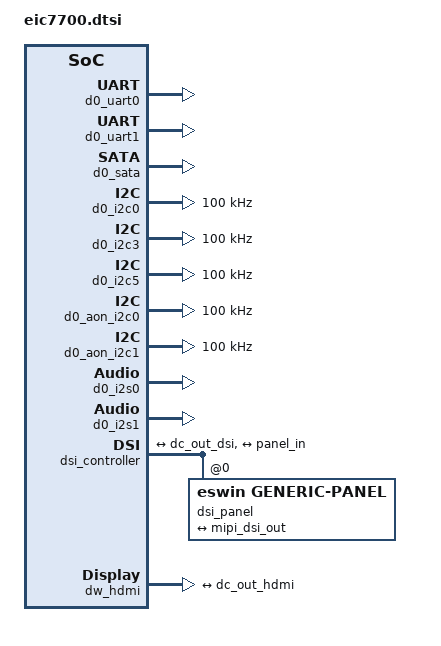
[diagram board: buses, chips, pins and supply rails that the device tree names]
// SPDX-License-Identifier: (GPL-2.0 OR MIT)
/*
 * Copyright (c) 2024 Beijing ESWIN Computing Technology Co., Ltd.
 */

#include "eic7700-arch.dtsi"
#include <dt-bindings/memory/eic7700-sid.h>
#include <dt-bindings/reset/eic7700-syscrg.h>
#include <dt-bindings/clock/eic7700-clock.h>
#include <dt-bindings/riscv/physical-memory.h>

/ {
	riscv,physical-memory-regions =
		<0x000 0x00000000 0x200 0x00000000 (PMA_RW | PMA_IO) 0x0>,
		<0x000 0x80000000 0x00f 0x80000000 (PMA_RWXA | PMA_NONCOHERENT_MEMORY) 0x0>,
		<0x0c0 0x00000000 0x010 0x00000000 (PMA_RWX | PMA_NONCACHEABLE_MEMORY | PMR_ALIAS(1)) 0x0>;

    compatible = "eswin,eic7700";
	d0_cpu_opp_table: opp-table0 {
		compatible = "operating-points-v2";
		opp-shared;

		opp-24000000 {
			opp-hz = /bits/ 64 <CLK_FREQ_24M>;
			opp-microvolt = <800000>;
			clock-latency-ns = <70000>;
		};
		opp-100000000 {
			opp-hz = /bits/ 64 <CLK_FREQ_100M>;
			opp-microvolt = <800000>;
			clock-latency-ns = <70000>;
		};
		opp-200000000 {
			opp-hz = /bits/ 64 <CLK_FREQ_200M>;
			opp-microvolt = <800000>;
			clock-latency-ns = <70000>;
		};
		opp-400000000 {
			opp-hz = /bits/ 64 <CLK_FREQ_400M>;
			opp-microvolt = <800000>;
			clock-latency-ns = <70000>;
		};
		opp-500000000 {
			opp-hz = /bits/ 64 <CLK_FREQ_500M>;
			opp-microvolt = <800000>;
			clock-latency-ns = <70000>;
		};
		opp-600000000 {
			opp-hz = /bits/ 64 <CLK_FREQ_600M>;
			opp-microvolt = <800000>;
			clock-latency-ns = <70000>;
		};
		opp-700000000 {
			opp-hz = /bits/ 64 <CLK_FREQ_700M>;
			opp-microvolt = <800000>;
			clock-latency-ns = <70000>;
		};
		opp-800000000 {
			opp-hz = /bits/ 64 <CLK_FREQ_800M>;
			opp-microvolt = <800000>;
			clock-latency-ns = <70000>;
		};
		opp-900000000 {
			opp-hz = /bits/ 64 <CLK_FREQ_900M>;
			opp-microvolt = <800000>;
			clock-latency-ns = <70000>;
		};
		opp-1000000000 {
			opp-hz = /bits/ 64 <CLK_FREQ_1000M>;
			opp-microvolt = <800000>;
			clock-latency-ns = <70000>;
		};
		opp-1200000000 {
			opp-hz = /bits/ 64 <CLK_FREQ_1200M>;
			opp-microvolt = <800000>;
			clock-latency-ns = <70000>;
		};
		opp-1300000000 {
			opp-hz = /bits/ 64 <CLK_FREQ_1300M>;
			opp-microvolt = <800000>;
			clock-latency-ns = <70000>;
		};
		opp-1400000000 {
			opp-hz = /bits/ 64 <CLK_FREQ_1400M>;
			opp-microvolt = <800000>;
			clock-latency-ns = <70000>;
		};
	};
};

&SOC {
	dma-noncoherent;

	d0_uart0: serial@0x50900000 {
		compatible = "snps,dw-apb-uart";
		clock-frequency = <LSPCLK_FREQ>;
		interrupt-parent = <&plic0>;
		interrupts = <100>;
		reg = <0x0 0x50900000 0x0 0x10000>;
		reg-shift = <2>;
		reg-io-width = <4>;
	};

	d0_uart1: serial@0x50910000 {
		compatible = "snps,dw-apb-uart";
		clock-frequency = <LSPCLK_FREQ>;
		interrupt-parent = <&plic0>;
		interrupts = <101>;
		reg = <0x0 0x50910000 0x0 0x10000>;
		reg-shift = <2>;
		reg-io-width = <4>;
	};

	d0_uart2: serial@0x50920000 {
		compatible = "snps,dw-apb-uart";
		clock-frequency = <LSPCLK_FREQ>;
		interrupt-parent = <&plic0>;
		interrupts = <102>;
		reg = <0x0 0x50920000 0x0 0x10000>;
		reg-shift = <2>;
		reg-io-width = <4>;
		status = "disabled";
	};

	d0_uart3: serial@0x50930000 {
		compatible = "snps,dw-apb-uart";
		clock-frequency = <LSPCLK_FREQ>;
		interrupt-parent = <&plic0>;
		interrupts = <103>;
		reg = <0x0 0x50930000 0x0 0x10000>;
		reg-shift = <2>;
		reg-io-width = <4>;
		status = "disabled";
	};

	d0_uart4: serial@0x50940000 {
		compatible = "snps,dw-apb-uart";
		clock-frequency = <LSPCLK_FREQ>;
		interrupt-parent = <&plic0>;
		interrupts = <104>;
		reg = <0x0 0x50940000 0x0 0x10000>;
		reg-shift = <2>;
		reg-io-width = <4>;
		status = "disabled";
	};

	d0_sys_con: scu_sys_con@0x51810000 {
		compatible = "eswin,eic7700-scu-sys-con", "syscon", "simple-mfd";
		#syscon-cells = <2>;
		#size-cells = <2>;
		reg = <0x0 0x51810000 0x0 0x8000>;
	};

	d0_sys_crg: sys-crg@51828000 {
		compatible = "syscon", "simple-mfd";
		reg = <0x000000 0x51828000 0x000000 0x80000>;
		d0_reset: reset-controller {
			compatible = "eswin,eic7700-reset";
			#reset-cells = <2>;
		};
		d0_clock: clock-controller {
			compatible = "eswin,eic7700-clock";
			#clock-cells = <1>;
		};
	};

	d0_hsp_sp_csr: hsp_sp_top_csr@0x50440000 {
		compatible = "syscon";
		#size-cells = <2>;
		reg = <0x0 0x50440000 0x0 0x2000>;
	};

	smmu0: iommu@50c00000 {
		compatible = "arm,smmu-v3";
		eswin,syscfg = <&d0_sys_con 0x3fc>;
		interrupt-parent = <&plic0>;
		interrupts = <356>,
			<360>,
			<357>,
			<358>;
		interrupt-names = "eventq", "gerror", "priq", "cmdq-sync";
		#iommu-cells = <1>;
		reg = <0x0 0x50c00000 0x0 0x100000>;
		resets = <&d0_reset TCU_RST_CTRL SW_TCU_AXI_RSTN>,
			<&d0_reset TCU_RST_CTRL SW_TCU_CFG_RSTN>,
			<&d0_reset TCU_RST_CTRL TBU_RSTN_0>,
			<&d0_reset TCU_RST_CTRL TBU_RSTN_1>,
			<&d0_reset TCU_RST_CTRL TBU_RSTN_2>,
			<&d0_reset TCU_RST_CTRL TBU_RSTN_3>,
			<&d0_reset TCU_RST_CTRL TBU_RSTN_4>,
			<&d0_reset TCU_RST_CTRL TBU_RSTN_5>,
			<&d0_reset TCU_RST_CTRL TBU_RSTN_6>,
			<&d0_reset TCU_RST_CTRL TBU_RSTN_7>;
		reset-names = "axi_rst", "cfg_rst", "tbu0_rst", "tbu1_rst",
			"tbu2_rst", "tbu3_rst", "tbu4_rst", "tbu5_rst",
			"tbu6_rst", "tbu7_rst";
		status = "disabled";
	};

	d0_dmac0: dma-controller-hsp@0x50430000 {
		compatible = "snps,axi-dma-1.01a";
		reg = <0x0 0x50430000 0x0 0x10000>;
		interrupt-parent = <&plic0>;
		interrupts = <57>;
		clocks = <&d0_clock EIC7700_CLK_HSP_DMA0_CLK>;
		clock-names = "core-clk";
		#dma-cells = <2>;
		dma-channels = <12>;
		snps,dma-masters = <1>;
		snps,priority = <0 1 2 3 4 5 6 7 8 9 10 11>;
		snps,data-width = <2>;
		snps,block-size = <0x80000 0x80000 0x80000 0x80000
			0x80000 0x80000 0x80000 0x80000
			0x80000 0x80000 0x80000 0x80000>;
		snps,axi-max-burst-len = <16>;
		snps,max-msize = <64>;
		resets = <&d0_reset HSPDMA_RST_CTRL SW_HSP_DMA0_RSTN>,
			<&d0_reset HSPDMA_RST_CTRL SW_HSP_DMA_PRSTN>;
		reset-names = "arst", "prst";
		iommus = <&smmu0 EIC7700_SID_DMA0>;
		tbus = <EIC7700_TBUID_DMA0>;
		eswin,hsp_sp_csr = <&d0_hsp_sp_csr 0x104c>;
		eswin,syscfg = <&d0_sys_con DMA1_SID_REG_OFFSET 0x370>;
	};

	d0_aon_dmac: dma-controller-aon@0x518c0000 {
		compatible = "snps,axi-dma-1.01a";
		#size-cells = <2>;
		#address-cells = <2>;
		reg = <0x0 0x518c0000 0x0 0x10000>;
		interrupt-parent = <&plic0>;
		interrupts = <289>;
		clocks = <&d0_clock EIC7700_CLK_AONDMA_ACLK>;
		clock-names = "core-clk";
		#dma-cells = <2>;
		dma-channels = <16>;
		dma-ranges = <0x0 0x80000000 0x0 0x80000000 0x100 0x0>;
		snps,dma-masters = <2>;
		snps,priority = <0 1 2 3 4 5 6 7 8 9 10 11 12 13 14 15>;
		snps,data-width = <3>;
		snps,block-size = <0x80000 0x80000 0x80000 0x80000
			0x80000 0x80000 0x80000 0x80000
			0x80000 0x80000 0x80000 0x80000
			0x80000 0x80000 0x80000 0x80000>;
		snps,axi-max-burst-len = <32>;
		snps,max-msize = <64>;
		resets = <&d0_reset DMA1_RST_CTRL SW_DMA1_ARSTN>,
			<&d0_reset DMA1_RST_CTRL SW_DMA1_HRSTN>;
		reset-names = "arst", "prst";
		iommus = <&smmu0 EIC7700_SID_DMA1>;
		tbus = <EIC7700_TBUID_DMA1>;
		eswin,syscfg = <&d0_sys_con DMA1_SID_REG_OFFSET 0x370>;
	};

	d0_gmac0: ethernet@50400000 {
		compatible = "eswin,eic7700-qos-eth";
		clocks = <&d0_clock EIC7700_CLK_HSP_ETH_APP_CLK>,
			<&d0_clock EIC7700_CLK_HSP_ETH_CSR_CLK>,
			<&d0_clock EIC7700_CLK_HSP_ETH0_CORE_CLK>;
		clock-names = "app", "stmmaceth","tx";
		eswin,hsp_sp_csr = <&d0_hsp_sp_csr 0x1030 0x100 0x108>;
		eswin,syscrg_csr = <&d0_sys_crg 0x148 0x14c>;
		id = <0>;
		interrupts = <61>;
		interrupt-names = "macirq";
		interrupt-parent = <&plic0>;
		phy-mode = "rgmii";
		reg = <0x0 0x50400000 0x0 0x10000>;
		resets = <&d0_reset HSPDMA_RST_CTRL SW_HSP_ETH0_ARSTN>;
		reset-names = "ethrst";
		snps,axi-config = <&d0_stmmac_axi_setup>;
		tbus = <EIC7700_TBUID_ETH>;
		status = "disabled";
		d0_stmmac_axi_setup: stmmac-axi-config {
			snps,blen = <0 0 0 0 16 8 4>;
			snps,rd_osr_lmt = <2>;
			snps,wr_osr_lmt = <2>;
			snps,lpi_en = <0>;
		};
	};

	d0_gmac1: ethernet@50410000 {
		compatible = "eswin,eic7700-qos-eth";
		clocks = <&d0_clock EIC7700_CLK_HSP_ETH_APP_CLK>,
			<&d0_clock EIC7700_CLK_HSP_ETH_CSR_CLK>,
			<&d0_clock EIC7700_CLK_HSP_ETH1_CORE_CLK>;
		clock-names = "app", "stmmaceth","tx";
		eswin,hsp_sp_csr = <&d0_hsp_sp_csr 0x1034 0x200 0x208>;
		eswin,syscrg_csr = <&d0_sys_crg 0x148 0x14c>;
		id = <1>;
		interrupts = <70>;
		interrupt-names = "macirq";
		interrupt-parent = <&plic0>;
		phy-mode = "rgmii";
		reg = <0x0 0x50410000 0x0 0x10000>;
		resets = <&d0_reset HSPDMA_RST_CTRL SW_HSP_ETH1_ARSTN>;
		reset-names = "ethrst";
		tbus = <EIC7700_TBUID_ETH>;
		snps,axi-config = <&d0_stmmac_axi_setup_gmac1>;
		status = "disabled";
		d0_stmmac_axi_setup_gmac1: stmmac-axi-config {
			snps,blen = <0 0 0 0 16 8 4>;
			snps,rd_osr_lmt = <2>;
			snps,wr_osr_lmt = <2>;
			snps,lpi_en = <0>;
		};
	};

	gpu0: gpu@51400000 {
		compatible = "img,gpu";
		#address-cells = <2>;
		#size-cells = <2>;
		reg = <0x0 0x51400000 0x0 0xFFFFF>;
		clocks = <&d0_clock EIC7700_CLK_GPU_ACLK>,
			<&d0_clock EIC7700_CLK_GPU_GRAY_CLK>,
			<&d0_clock EIC7700_CLK_GPU_CFG_CLK>;
		clock-names = "aclk", "gray_clk", "cfg_clk";
		resets =<&d0_reset GPU_RST_CTRL SW_GPU_AXI_RSTN>,
			<&d0_reset GPU_RST_CTRL SW_GPU_CFG_RSTN>,
			<&d0_reset GPU_RST_CTRL SW_GPU_GRAY_RSTN>,
			<&d0_reset GPU_RST_CTRL SW_GPU_JONES_RSTN>,
			<&d0_reset GPU_RST_CTRL SW_GPU_SPU_RSTN>;
		reset-names = "axi", "cfg", "gray", "jones","spu";
		interrupt-parent = <&plic0>;
		interrupts = <15>;
	};

	d0_sata: sata@0x50420000{
		compatible = "snps,eswin-ahci";
		eswin,hsp_sp_csr = <&d0_hsp_sp_csr 0x1050>;
		interrupt-parent = <&plic0>;
		interrupt-names = "intrq", "msi", "pme";
		interrupts = <58>, <59>, <60>;
		iommus = <&smmu0 EIC7700_SID_SATA>;
		ports-implemented = <0x1>;
		reg = <0x0 0x50420000 0x0 0x10000>;
		resets = <&d0_reset HSPDMA_RST_CTRL SW_SATA_ASIC0_RSTN>,
			<&d0_reset HSPDMA_RST_CTRL SW_SATA_OOB_RSTN>,
			<&d0_reset HSPDMA_RST_CTRL SW_SATA_PMALIVE_RSTN>,
			<&d0_reset HSPDMA_RST_CTRL SW_SATA_RBC_RSTN>,
			<&d0_reset HSPDMA_RST_CTRL SW_HSP_SATA_ARSTN>;
		reset-names = "asic0", "oob", "pmalive", "rbc", "apb";
		#size-cells = <2>;
		tbus = <EIC7700_TBUID_SATA>;
		dma-ranges = <0x0 0x0 0x0 0xc0000000 0x200 0x0>;
	};

	pcie: pcie@0x54000000 {
		compatible = "eswin,eic7700-pcie";
		#address-cells = <3>;
		#size-cells = <2>;
		clocks = <&d0_clock EIC7700_CLK_PCIET_ACLK>,
			<&d0_clock EIC7700_CLK_PCIET_CFG_CLK>,
			<&d0_clock EIC7700_CLK_PCIET_CR_CLK>,
			<&d0_clock EIC7700_CLK_PCIET_AUX_CLK>;
		clock-names = "pcie_aclk", "pcie_cfg_clk",
			"pcie_cr_clk", "pcie_aux_clk";
		device_type = "pci";
		#interrupt-cells = <1>;
		interrupts = <220>, <179>, <180>, <181>,
			<182>, <183>, <184>, <185>, <186>;
		interrupt-names = "msi", "inta", "intb", "intc", "intd";
		interrupt-parent = <&plic0>;
		interrupt-map-mask = <0x0 0x0 0x0 0x7>;
		interrupt-map = <0x0 0x0 0x0 0x1 &plic0 179>,
			<0x0 0x0 0x0 0x2 &plic0 180>,
			<0x0 0x0 0x0 0x3 &plic0 181>,
			<0x0 0x0 0x0 0x4 &plic0 182>;
		iommus = <&smmu0 0xfe0000>;
		iommu-map = <0x0 &smmu0 0xff0000 0xffffff>;
		num-lanes = <0x4>;
		resets = <&d0_reset PCIE_RST_CTRL SW_PCIE_CFG_RSTN>,
			 <&d0_reset PCIE_RST_CTRL SW_PCIE_POWERUP_RSTN>,
			 <&d0_reset PCIE_RST_CTRL SW_PCIE_PERST_N>;
		reset-names = "pcie_cfg", "pcie_powerup", "pcie_pwren";
		reg = <0x0 0x54000000 0x0 0x4000000>,
			<0x0 0x40000000 0x0 0x800000>,
		    <0x0 0x50000000 0x0 0x100000>;
		reg-names = "dbi", "config", "mgmt";
		bus-range = <0x0 0xff>;
		ranges = <0x81000000  0x0 0x40800000  0x0 0x40800000 0x0 0x800000>,
			<0x82000000  0x0 0x41000000  0x0 0x41000000 0x0 0xf000000>,
			<0xc3000000 0x80 0x00000000 0x80 0x00000000 0x02 0x00000000>;
		gen-x = <3>;
		lane-x = <4>;
		tbus = <EIC7700_TBUID_PCIE>;
		status = "disabled";
	};

	ssi0: spi@50810000 {
		compatible = "snps,eic7700-spi";
		#address-cells = <1>;
		#size-cells = <0>;
		reg = <0x0 0x50810000 0x0 0x4000>;
		spi-max-frequency = <4800000>;
		clocks = <&d0_clock EIC7700_CLK_LSP_SSI0_PCLK>;
		clock-names = "clk";
		interrupt-parent = <&plic0>;
		interrupts = <91>;
		resets = <&d0_reset SSI_RST_CTRL SW_SSI_RST_N_0>;
		reset-names = "spi";
		eswin,spi_dma = <&d0_aon_dmac>;
		dmas = <&d0_aon_dmac 38 3>, <&d0_aon_dmac 39 3>;
		dma-names = "rx", "tx";
		status = "disabled";
	};

	ssi1: spi@50814000 {
		compatible = "snps,eic7700-spi";
		#address-cells = <1>;
		#size-cells = <0>;
		reg = <0x0 0x50814000 0x0 0x4000>;
		spi-max-frequency = <4800000>;
		clocks = <&d0_clock EIC7700_CLK_LSP_SSI1_PCLK>;
		clock-names = "clk";
		interrupt-parent = <&plic0>;
		interrupts = <92>;
		resets = <&d0_reset SSI_RST_CTRL SW_SSI_RST_N_1>;
		reset-names = "spi";
		eswin,spi_dma = <&d0_aon_dmac>;
		dmas = <&d0_aon_dmac 36 4>, <&d0_aon_dmac 37 4>;
		dma-names = "rx", "tx";
		status = "disabled";
	};

	bootspi: spi@51800000 {
		compatible = "eswin,bootspi";
		#address-cells = <1>;
		#size-cells = <0>;
		clocks = <&d0_clock EIC7700_CLK_CLK_BOOTSPI_CFG>,
				<&d0_clock EIC7700_CLK_CLK_BOOTSPI>;
		clock-names = "cfg_clk", "clk";
		reg = <0x0 0x51800000 0x0 0x8000>,
			<0x0 0x51828000 0x0 0x8000>,
			<0x0 0x5c000000 0x0 0x8000>;
		resets = <&d0_reset BOOTSPI_RST_CTRL SW_BOOTSPI_RSTN>;
		reset-names = "rst";
		reg-io-width = <4>;
		spi-max-frequency = <4800000>;
		status = "disabled";
	};

	sdhci_emmc: mmc@50450000 {
		compatible = "eswin,emmc-sdhci-5.1";
		#clock-cells = <0>;
		clocks = <&d0_clock EIC7700_CLK_HSP_MSHC0_CORE_CLK>, <&d0_clock EIC7700_CLK_HSP_CFG_CLK>;
		clock-names = "clk_xin", "clk_ahb";
		clock-output-names = "emmc_cardclock";
		assigned-clocks = <&d0_clock EIC7700_CLK_HSP_MSHC0_CORE_CLK>;
		assigned-clock-rates = <200000000>;
		reg = <0x0 0x50450000 0x0 0x10000>;
		interrupt-parent = <&plic0>;
		interrupts = <79>;
		resets = <&d0_reset HSPDMA_RST_CTRL SW_MSHC0_TXRX_RSTN>,
			<&d0_reset HSPDMA_RST_CTRL SW_MSHC0_PHY_RSTN>,
			<&d0_reset HSPDMA_RST_CTRL SW_HSP_EMMC_PRSTN>,
			<&d0_reset HSPDMA_RST_CTRL SW_HSP_EMMC_ARSTN>;
		reset-names = "txrx_rst", "phy_rst", "prstn", "arstn";
		disable-cqe-dcmd;
		bus-width = <8>;
		non-removable;
		mmc-hs400-1_8v;
		max-frequency = <200000000>;
		#size-cells = <2>;
		iommus = <&smmu0 EIC7700_SID_EMMC0>;
		tbus = <EIC7700_TBUID_EMMC>;
		dma-ranges = <0x0 0x00000000 0x0 0xc0000000 0x1 0x0>;
		eswin,hsp_sp_csr = <&d0_hsp_sp_csr 0x1038>;
		status = "disabled";
	};

	sdio0: mmc@0x50460000{
		compatible = "eswin,sdhci-sdio";
		reg = <0x0 0x50460000 0x0 0x10000>;
		interrupt-parent = <&plic0>;
		interrupts = <81>;
		clocks =<&d0_clock EIC7700_CLK_HSP_MSHC1_CORE_CLK>,
			<&d0_clock EIC7700_CLK_HSP_CFG_CLK>,
			<&d0_clock EIC7700_SPLL2_FOUT3>,
			<&d0_clock EIC7700_MUX_U_MSHCORE_ROOT_3MUX1_1>;
		clock-names ="clk_xin","clk_ahb","clk_spll2_fout3","clk_mux1_1";
		clock-output-names = "sdio0_cardclock";
		#clock-cells = <0>;
		resets = <&d0_reset HSPDMA_RST_CTRL SW_MSHC1_TXRX_RSTN>,
			<&d0_reset HSPDMA_RST_CTRL SW_MSHC1_PHY_RSTN>,
			<&d0_reset HSPDMA_RST_CTRL SW_HSP_SD0_PRSTN>,
			<&d0_reset HSPDMA_RST_CTRL SW_HSP_SD0_ARSTN>;
		reset-names = "txrx_rst","phy_rst","prstn","arstn";
		core-clk-reg = <0x51828164>;
		clock-frequency = <208000000>;
		max-frequency = <208000000>;
		#size-cells = <2>;
		dma-ranges = <0x0 0x20000000 0x0 0xc0000000 0x0 0x40000000>;
		iommus = <&smmu0 EIC7700_SID_SD0>;
		tbus = <EIC7700_TBUID_SD>;
		eswin,hsp_sp_csr = <&d0_hsp_sp_csr 0x103c>;
		bus-width = <4>;
		sdio-id = <0>;
		status = "disabled";
	};

	sdio1: mmc@0x50470000{
		compatible = "eswin,sdhci-sdio";
		reg = <0x0 0x50470000 0x0 0x10000>;
		interrupt-parent = <&plic0>;
		interrupts = <83>;
		clocks =<&d0_clock EIC7700_CLK_HSP_MSHC2_CORE_CLK>,
			<&d0_clock EIC7700_CLK_HSP_CFG_CLK>,
			<&d0_clock EIC7700_SPLL2_FOUT3>,
			<&d0_clock EIC7700_MUX_U_MSHCORE_ROOT_3MUX1_1>;
		clock-names ="clk_xin","clk_ahb","clk_spll2_fout3","clk_mux1_1";
		clock-output-names = "sdio1_cardclock";
		#clock-cells = <0>;
		resets = <&d0_reset HSPDMA_RST_CTRL SW_MSHC2_TXRX_RSTN>,
			<&d0_reset HSPDMA_RST_CTRL SW_MSHC2_PHY_RSTN>,
			<&d0_reset HSPDMA_RST_CTRL SW_HSP_SD1_PRSTN>,
			<&d0_reset HSPDMA_RST_CTRL SW_HSP_SD1_ARSTN>;
		reset-names = "txrx_rst","phy_rst","prstn","arstn";
		core-clk-reg = <0x51828168>;
		clock-frequency = <208000000>;
		max-frequency = <208000000>;
		#size-cells = <2>;
		dma-ranges = <0x0 0x20000000 0x0 0xc0000000 0x0 0x40000000>;
		iommus = <&smmu0 EIC7700_SID_SD1>;
		tbus = <EIC7700_TBUID_SD>;
		eswin,hsp_sp_csr = <&d0_hsp_sp_csr 0x1040>;
		bus-width = <4>;
		sdio-id = <1>;
		status = "disabled";
	};

	pvt0: pvt@0x50b00000 {
		compatible = "eswin,eswin-pvt";
		#address-cells = <1>;
		#size-cells = <0>;
		clocks = <&d0_clock EIC7700_CLK_PVT_CLK_0>;
		clock-names = "pvt_clk";
		interrupts = <349>;
		interrupt-parent = <&plic0>;
		resets = <&d0_reset PVT_RST_CTRL SW_PVT_RST_N_0>;
		reset-names = "pvt_rst";
		reg = <0x0 0x50b00000 0x0 0x10000>;
		status = "disabled";
	};

	pvt1: pvt@0x52360000 {
		compatible = "eswin,eswin-pvt";
		#address-cells = <1>;
		#size-cells = <0>;
		clocks = <&d0_clock EIC7700_CLK_PVT_CLK_1>;
		clock-names = "pvt_clk";
		interrupts = <350>;
		interrupt-parent = <&plic0>;
		resets = <&d0_reset PVT_RST_CTRL SW_PVT_RST_N_1>;
		reset-names = "pvt_rst";
		reg = <0x0 0x52360000 0x0 0x20000>;
		status = "disabled";
	};

	fan_control: fan_control@50b50000 {
		compatible = "eswin-fan-control";
		reg = <0x0 0x50b50000 0x0 0x10000>;
		clocks = <&d0_clock EIC7700_CLK_LSP_FAN_PCLK>;
		clock-names = "pclk";
		interrupt-parent = <&plic0>;
		interrupt-names = "fanirq";
		interrupts = <354>;
		pulses-per-revolution = <2>;
		pwm-minimum-period = <1000>;
		pwms = <&pwm0 0 100000>;
		pinctrl-names = "default";
		pinctrl-0 = <&pinctrl_fan_tach_default>;
		resets = <&d0_reset FAN_RST_CTRL SW_FAN_RST_N>;
		reset-names = "fan_rst";
		status = "disabled";
	};

	d0_i2c0: i2c@50950000 {
		compatible = "snps,designware-i2c";
		reg = <0x0 0x50950000 0x0 0x8000>;
		clocks = <&d0_clock EIC7700_CLK_LSP_I2C0_PCLK>;
		clock-names = "pclk";
		clock-frequency = <100000>;
		resets = <&d0_reset I2C_RST_CTRL SW_I2C_RST_N_0>;
		reset-names = "rst";
		interrupts = <105>;
		interrupt-parent = <&plic0>;
		#address-cells = <1>;
		#size-cells = <0>;
	};

	d0_i2c1: i2c@50960000 {
		compatible = "snps,designware-i2c";
		reg = <0x0 0x50960000 0x0 0x10000>;
		clock-frequency = <100000>;
		clocks = <&d0_clock EIC7700_CLK_LSP_I2C1_PCLK>;
		clock-names = "pclk";
		resets = <&d0_reset I2C_RST_CTRL SW_I2C_RST_N_1>;
		reset-names = "rst";
		interrupts = <106>;
		interrupt-parent = <&plic0>;
		#address-cells = <1>;
		#size-cells = <0>;
		status = "disabled";
	};

	d0_i2c2: i2c@50970000 {
		compatible = "snps,designware-i2c";
		reg = <0x0 0x50970000 0x0 0x8000>;
		clock-frequency = <100000>;
		clocks = <&d0_clock EIC7700_CLK_LSP_I2C2_PCLK>;
		clock-names = "pclk";
		resets = <&d0_reset I2C_RST_CTRL SW_I2C_RST_N_2>;
		reset-names = "rst";
		interrupts = <107>;
		interrupt-parent = <&plic0>;
		#address-cells = <1>;
		#size-cells = <0>;
		status = "disabled";
	};

	d0_i2c3: i2c@50980000 {
		compatible = "snps,designware-i2c";
		reg = <0x0 0x50980000 0x0 0x8000>;
		clock-frequency = <100000>;
		clocks = <&d0_clock EIC7700_CLK_LSP_I2C3_PCLK>;
		clock-names = "pclk";
		resets = <&d0_reset I2C_RST_CTRL SW_I2C_RST_N_3>;
		reset-names = "rst";
		interrupts = <108>;
		interrupt-parent = <&plic0>;
		#address-cells = <1>;
		#size-cells = <0>;
	};

	d0_i2c4: i2c@50990000 {
		compatible = "snps,designware-i2c";
		reg = <0x0 0x50990000 0x0 0x8000>;
		clock-frequency = <100000>;
		clocks = <&d0_clock EIC7700_CLK_LSP_I2C4_PCLK>;
		clock-names = "pclk";
		resets = <&d0_reset I2C_RST_CTRL SW_I2C_RST_N_4>;
		reset-names = "rst";
		interrupts = <109>;
		interrupt-parent = <&plic0>;
		#address-cells = <1>;
		#size-cells = <0>;
		status = "disabled";
	};

	d0_i2c5: i2c@509a0000 {
		compatible = "snps,designware-i2c";
		reg = <0x0 0x509a0000 0x0 0x8000>;
		clock-frequency = <100000>;
		clocks = <&d0_clock EIC7700_CLK_LSP_I2C5_PCLK>;
		clock-names = "pclk";
		resets = <&d0_reset I2C_RST_CTRL SW_I2C_RST_N_5>;
		reset-names = "rst";
		interrupts = <110>;
		interrupt-parent = <&plic0>;
		#address-cells = <1>;
		#size-cells = <0>;
	};

	d0_i2c6: i2c@509b0000 {
		compatible = "snps,designware-i2c";
		reg = <0x0 0x509b0000 0x0 0x8000>;
		clock-frequency = <100000>;
		clocks = <&d0_clock EIC7700_CLK_LSP_I2C6_PCLK>;
		clock-names = "pclk";
		resets = <&d0_reset I2C_RST_CTRL SW_I2C_RST_N_6>;
		reset-names = "rst";
		interrupts = <111>;
		interrupt-parent = <&plic0>;
		#address-cells = <1>;
		#size-cells = <0>;
		status = "disabled";
	};

	d0_i2c7: i2c@509c0000 {
		compatible = "snps,designware-i2c";
		reg = <0x0 0x509c0000 0x0 0x8000>;
		clock-frequency = <100000>;
		clocks = <&d0_clock EIC7700_CLK_LSP_I2C7_PCLK>;
		clock-names = "pclk";
		resets = <&d0_reset I2C_RST_CTRL SW_I2C_RST_N_7>;
		reset-names = "rst";
		interrupts = <112>;
		interrupt-parent = <&plic0>;
		#address-cells = <1>;
		#size-cells = <0>;
		status = "disabled";
	};

	d0_i2c8: i2c@509d0000 {
		compatible = "snps,designware-i2c";
		reg = <0x0 0x509d0000 0x0 0x8000>;
		clock-frequency = <100000>;
		clocks = <&d0_clock EIC7700_CLK_LSP_I2C8_PCLK>;
		clock-names = "pclk";
		resets = <&d0_reset I2C_RST_CTRL SW_I2C_RST_N_8>;
		reset-names = "rst";
		interrupts = <113>;
		interrupt-parent = <&plic0>;
		#address-cells = <1>;
		#size-cells = <0>;
		status = "disabled";
	};

	d0_i2c9: i2c@509e0000 {
		compatible = "snps,designware-i2c";
		reg = <0x0 0x509e0000 0x0 0x8000>;
		clock-frequency = <100000>;
		clocks = <&d0_clock EIC7700_CLK_LSP_I2C9_PCLK>;
		clock-names = "pclk";
		resets = <&d0_reset I2C_RST_CTRL SW_I2C_RST_N_9>;
		reset-names = "rst";
		interrupts = <114>;
		interrupt-parent = <&plic0>;
		#address-cells = <1>;
		#size-cells = <0>;
		status = "disabled";
	};

	d0_aon_i2c0: i2c@51830000 {
		compatible = "snps,designware-i2c";
		reg = <0x0 0x51830000 0x0 0x8000>;
		clock-frequency = <100000>;
		clocks = <&d0_clock EIC7700_CLK_AON_I2C0_PCLK>;
		clock-names = "pclk";
		resets = <&d0_reset I2C0_RST_CTRL SW_I2C0_PRSTN>;
		reset-names = "rst";
		interrupts = <290>;
		interrupt-parent = <&plic0>;
		eswin,i2c_dma = <&d0_aon_dmac>;
		dma-names = "rx", "tx";
		/*
		* dmas : DMA specifiers
		* &d0_aon_dmac : dma controller
		* 41 : i2c0 aon dma handshake number
		* 0xff : no need to select to dma controller
		*/
		dmas = <&d0_aon_dmac 41 0xff>, <&d0_aon_dmac 42 0xff>;
		#address-cells = <1>;
		#size-cells = <0>;
	};

	d0_aon_i2c1: i2c@51838000 {
			compatible = "snps,designware-i2c";
			reg = <0x0 0x51838000 0x0 0x8000>;
			clock-frequency = <100000>;
			clocks = <&d0_clock EIC7700_CLK_AON_I2C1_PCLK>;
			clock-names = "pclk";
			resets = <&d0_reset I2C1_RST_CTRL SW_I2C1_PRSTN>;
			reset-names = "rst";
			interrupts = <291>;
			interrupt-parent = <&plic0>;
			#address-cells = <1>;
			#size-cells = <0>;
	};

	pinctrl: pinctrl@0x51600080 {
		compatible = "eswin,eic7700-pinctrl";
		reg = <0x0 0x51600080 0x0 0x1FFF80>;
		status = "disabled";
	};

	gpio0: gpio@51600000 {
		#address-cells = <1>;
		#size-cells = <0>;
		compatible = "snps,dw-apb-gpio";
		reg = <0x0 0x51600000 0x0 0x80>;

		porta: gpio-port@0 {
			compatible = "snps,dw-apb-gpio-port";
			gpio-controller;
			#gpio-cells = <2>;
			ngpios = <32>;
			reg = <0>;
			interrupt-parent = <&plic0>;
			interrupts = <303 304 305 306 307 308 309 310 311 312 313
				314 315 316 317 318 319 320 321 322 323 324 325 326
				327 328 329 330 331 332 333 334>;
		};

		portb: gpio-port@1 {
			compatible = "snps,dw-apb-gpio-port";
			gpio-controller;
			#gpio-cells = <2>;
			ngpios = <32>;
			reg = <1>;
		};

		portc: gpio-port@2 {
			compatible = "snps,dw-apb-gpio-port";
			gpio-controller;
			#gpio-cells = <2>;
			ngpios = <32>;
			reg = <2>;
		};

		portd: gpio-port@3 {
			compatible = "snps,dw-apb-gpio-port";
			gpio-controller;
			#gpio-cells = <2>;
			ngpios = <16>;
			reg = <3>;
		};
	};

	pwm0: pwm@0x50818000 {
		compatible = "eswin,pwm-eswin";
		#pwm-cells = <2>;
		clock-names = "pwm","pclk";
		clocks = <&d0_clock EIC7700_CLK_LSP_TIMER_PCLK>;
		clock-frequency = <200000000>;
		pinctrl-names = "default";
		pinctrl-0 = <&pinctrl_pwm0_default>;
		reg = <0x0 0x50818000 0x0 0x4000>;
		resets = <&d0_reset TIMER_RST_CTRL SW_TIMER_RST_N>;
		reset-names = "pwmrst";
		status = "disabled";
	};

	wdt0: watchdog@0x50800000 {
		compatible = "snps,dw-wdt";
		reg = <0x0 0x50800000 0x0 0x4000>;
		clocks =<&d0_clock EIC7700_CLK_LSP_WDT0_PCLK>;
		clock-names = "pclk";
		resets = <&d0_reset WDT_RST_CTRL SW_WDT_RST_N_0>;
		reset-names = "rst";
		interrupts = <87>;
		interrupt-parent = <&plic0>;
		status = "disabled";
	};

	wdt1: watchdog@0x50804000 {
		compatible = "snps,dw-wdt";
		reg = <0x0 0x50804000 0x0 0x4000>;
		clocks =<&d0_clock EIC7700_CLK_LSP_WDT1_PCLK>;
		clock-names = "pclk";
		resets = <&d0_reset WDT_RST_CTRL SW_WDT_RST_N_1>;
		reset-names = "rst";
		interrupts = <88>;
		interrupt-parent = <&plic0>;
		status = "disabled";
	};

	wdt2: watchdog@0x50808000 {
		compatible = "snps,dw-wdt";
		reg = <0x0 0x50808000 0x0 0x4000>;
		clocks =<&d0_clock EIC7700_CLK_LSP_WDT2_PCLK>;
		clock-names = "pclk";
		resets = <&d0_reset WDT_RST_CTRL SW_WDT_RST_N_2>;
		reset-names = "rst";
		interrupts = <89>;
		interrupt-parent = <&plic0>;
		status = "disabled";
	};

	wdt3: watchdog@0x5080c000 {
		compatible = "snps,dw-wdt";
		reg = <0x0 0x5080c000 0x0 0x4000>;
		clocks =<&d0_clock EIC7700_CLK_LSP_WDT3_PCLK>;
		clock-names = "pclk";
		resets = <&d0_reset WDT_RST_CTRL SW_WDT_RST_N_3>;
		reset-names = "rst";
		interrupts = <90>;
		interrupt-parent = <&plic0>;
		status = "disabled";
	};

	die0_rtc: rtc@51818000 {
		compatible = "eswin,eic7700-rtc";
		reg = <0x0 0x51818000 0x0 0x400>;
		eswin,syscfg = <&d0_sys_con 0x3c0>;
		interrupt-parent = <&plic0>;
		interrupts = <292>;
		clocks = <&d0_clock EIC7700_CLK_CLK_RTC>;
		clock-names = "rtcclk";
		clock-frequency = <15625>;
		resets = <&d0_reset RTC_RST_CTRL SW_RTC_RSTN>;
		reset-names = "rtcrst";
		status = "disabled";
	};

	d0_i2s0: i2s0@50200000 {
		compatible = "snps,i2s";
		clocks = <&d0_clock EIC7700_CLK_VO_I2S_MCLK>;
		clock-names = "mclk";
		#address-cells = <1>;
		#size-cells = <0>;
		#sound-dai-cells = <0x00000000>;
		reg = <0x0 0x50200000 0x0 0x10000>;
		dma-names = "rx", "tx";
		dmas = <&d0_aon_dmac 4 0>, <&d0_aon_dmac 5 0>;
		vo_mclk_sel,syscrg = <&d0_sys_crg 0x1bc>;
		resets = <&d0_reset VO_I2SRST_CTRL SW_VO_I2S_RSTN>,
			<&d0_reset VO_I2SRST_CTRL SW_VO_I2S_PRSTN>,
			<&d0_reset VO_PHYRST_CTRL SW_VO_PRSTN>;
		reset-names = "i2srst", "i2sprst", "voprst";
	};

	d0_i2s1: i2s1@50210000 {
		compatible = "snps,i2s";
		clocks = <&d0_clock EIC7700_CLK_VO_I2S_MCLK>;
		clock-names = "mclk";
		#address-cells = <1>;
		#size-cells = <0>;
		#sound-dai-cells = <0x00000000>;
		reg = <0x0 0x50210000 0x0 0x10000>;
		dma-names = "rx", "tx";
		dmas = <&d0_aon_dmac 2 1>, <&d0_aon_dmac 3 1>;
		vo_mclk_sel,syscrg = <&d0_sys_crg 0x1bc>;
		resets = <&d0_reset VO_I2SRST_CTRL SW_VO_I2S_RSTN>,
			<&d0_reset VO_I2SRST_CTRL SW_VO_I2S_PRSTN>,
			<&d0_reset VO_PHYRST_CTRL SW_VO_PRSTN>;
		reset-names = "i2srst", "i2sprst", "voprst";
	};

	d0_i2s2: i2s2@50220000 {
		compatible = "snps,i2s";
		clocks = <&d0_clock EIC7700_CLK_VO_I2S_MCLK>;
		clock-names = "mclk";
		#address-cells = <1>;
		#size-cells = <0>;
		#sound-dai-cells = <0x00000000>;
		reg = <0x0 0x50220000 0x0 0x10000>;
		dma-names = "rx", "tx";
		dmas = <&d0_aon_dmac 0 2>, <&d0_aon_dmac 1 2>;
		vo_mclk_sel,syscrg = <&d0_sys_crg 0x1bc>;
		resets = <&d0_reset VO_I2SRST_CTRL SW_VO_I2S_RSTN>,
			<&d0_reset VO_I2SRST_CTRL SW_VO_I2S_PRSTN>,
			<&d0_reset VO_PHYRST_CTRL SW_VO_PRSTN>;
		reset-names = "i2srst", "i2sprst", "voprst";
		status = "disabled";
	};

	d0_graphcard0: graphcard0 {
		compatible = "audio-graph-card";
	};

	d0_graphcard1: graphcard1 {
		compatible = "audio-graph-card";
	};

	d0_graphcard2: graphcard2 {
		compatible = "audio-graph-card";
		status = "disabled";
	};

	video_output: display-subsystem {
		compatible = "eswin,display-subsystem";
		ports = <&dc_out>;
	};

	dc: display_control@502c0000 {
		compatible = "eswin,dc";
		reg = <0x0 0x502c0000 0x0 0x100>, <0x0 0x502c0180 0x0 0x700>, <0x0 0x502c1400 0x0 0x1400>;
		interrupt-parent = <&plic0>;
		interrupts = <238>;
		clocks = <&d0_clock EIC7700_CLK_VO_CFG_CLK>,
			<&d0_clock EIC7700_CLK_VO_PIXEL_CLK>,
			<&d0_clock EIC7700_CLK_VO_ACLK>,
			<&d0_clock EIC7700_SPLL0_FOUT1>,
			<&d0_clock EIC7700_MUX_U_VO_ACLK_ROOT_2MUX1_GFREE>;
		clock-names = "cfg_clk", "pix_clk", "axi_clk", "spll0_fout1", "vo_mux";
		resets = <&d0_reset VO_RST_CTRL SW_VO_AXI_RSTN>,
			<&d0_reset VO_RST_CTRL SW_VO_CFG_RSTN>,
			<&d0_reset VO_RST_CTRL SW_VO_DC_RSTN>,
			<&d0_reset VO_RST_CTRL SW_VO_DC_PRSTN>;
		reset-names = "vo_arst", "vo_prst", "dc_arst", "dc_prst";

		dc_out: port {
			#address-cells = <1>;
			#size-cells = <0>;

			dc_out_dsi: endpoint@0 {
				reg = <0>;
				remote-endpoint = <&dsi_input>;
			};

			dc_out_dpi1: endpoint@1 {
				reg = <1>;
				remote-endpoint = <&vd_input>;
			};

			dc_out_hdmi: endpoint@2 {
				reg = <2>;
				remote-endpoint = <&hdmi_in_dc>;
			};
		};
	};

	virtual_display: es_wb {
		compatible = "eswin,virtual_display";
		bpp = /bits/ 8 <8>;
		status = "disabled";

		port {
			vd_input: endpoint {
				remote-endpoint = <&dc_out_dpi1>;
			};
		};
	};

	dsi_output: dsi-output {
		compatible = "eswin,dsi-encoder";
		status = "disabled";
	};

	dsi_controller: mipi_dsi@50270000 {
		#address-cells = <1>;
		#size-cells = <0>;
		compatible = "eswin,dsi";
		reg = <0x0 0x50270000 0x0 0x10000>;
		clocks = <&d0_clock EIC7700_CLK_CLK_MIPI_TXESC>;
		clock-names = "pclk";
		resets = <&d0_reset VO_PHYRST_CTRL SW_VO_MIPI_PRSTN>;
		reset-names ="phyrstn";

		ports {
			#address-cells = <1>;
			#size-cells = <0>;

			port@0 {
				#address-cells = <1>;
				#size-cells = <0>;
				reg = <0>;
				dsi_input: endpoint {
					remote-endpoint = <&dc_out_dsi>;
				};
			};

			port@1 {
				#address-cells = <1>;
				#size-cells = <0>;
				reg = <1>;

				mipi_dsi_out: endpoint {
					remote-endpoint = <&panel_in>;
				};
			};
		};

		dsi_panel:dsi_panel@0 {
			compatible = "eswin,generic-panel";
			reg = <0>;

			port {
				panel_in: endpoint {
					remote-endpoint = <&mipi_dsi_out>;
				};
			};
		};
	};

	dw_hdmi: hdmi@502a0000 {
		compatible = "eswin,eswin-dw-hdmi";
		reg = <0x0 0x502a0000 0x0 0x20000>;
		pinctrl-names = "default";
		interrupt-parent = <&plic0>;
		interrupts = <274>;
		clocks = <&d0_clock EIC7700_CLK_VO_CFG_CLK>,
			<&d0_clock EIC7700_CLK_VO_CEC_CLK>,
			<&d0_clock EIC7700_CLK_VO_CR_CLK>;
		clock-names = "iahb", "cec", "isfr";
		reg-io-width = <4>;
		ddc-i2c-scl-high-time-ns = <4708>;
		ddc-i2c-scl-low-time-ns = <4916>;
		#sound-dai-cells = <0>;
		resets = <&d0_reset VO_PHYRST_CTRL SW_VO_HDMI_PRSTN>,
			<&d0_reset VO_PHYRST_CTRL SW_HDMI_PHYCTRL_RSTN>,
			<&d0_reset VO_PHYRST_CTRL SW_VO_HDMI_RSTN>;
		reset-names = "prstn", "phyrstn", "rstn";

		ports {
			#address-cells = <1>;
			#size-cells = <0>;
			port@0 {
				reg = <0>;
				hdmi_in_dc: endpoint@0 {
					remote-endpoint = <&dc_out_hdmi>;
				};
			};
		};
	};

	dw_hdmi_hdcp2: hdmi-hdcp2@50290000 {
		compatible = "eswin,dw-hdmi-hdcp2";
		reg = <0x0 0x50290000 0x0 0x10000>;
		interrupt-parent = <&plic0>;
		interrupts = <275>;
		clocks = <&d0_clock EIC7700_CLK_VO_CFG_CLK>,
			<&d0_clock EIC7700_CLK_VO_HDMI_IESMCLK>;
		clock-names ="pclk_hdcp2", "hdcp2_clk_hdmi";
		status = "disabled";
	};

	d0_usbdrd3_0: usb0@50480000 {
		compatible = "eswin,eic7700-dwc3";
		#address-cells = <2>;
		#size-cells = <2>;
		clocks =<&d0_clock EIC7700_GATE_HSP_USB0_SUSPEND_CLK>;
		clock-names = "suspend";
		eswin,hsp_sp_csr = <&d0_hsp_sp_csr 0x800 0x808 0x83c 0x840>;
		resets = <&d0_reset HSPDMA_RST_CTRL SW_USB0_VAUX_RSTN>;
		reset-names = "vaux";
		ranges;
		status = "disabled";
		d0_usbdrd_dwc3_0: dwc3@50480000 {
			compatible = "snps,dwc3";
			reg = <0x0 0x50480000 0x0 0x10000>;
			#address-cells = <2>;
			#size-cells = <2>;
			interrupt-parent = <&plic0>;
			interrupts = <85>;
			interrupt-names = "peripheral";
			dr_mode = "peripheral";
			phy_type = "utmi";
			maximum-speed = "high-speed";
			iommus = <&smmu0 EIC7700_SID_USB0>;
			eswin,hsp_sp_csr = <&d0_hsp_sp_csr 0x1044>;
			dma-ranges = <0x0 0x0 0x0 0xc0000000 0x200 0x0>;
			snps,dis_enblslpm_quirk;
			snps,dis-u2-freeclk-exists-quirk;
			snps,dis_u2_susphy_quirk;
			snps,dis-del-phy-power-chg-quirk;
			snps,parkmode-disable-ss-quirk;
			status = "disabled";
			numa-node-id = <0>;
			tbus = <EIC7700_TBUID_USB>;
		};
	};

	d0_usbdrd3_1: usb1@50490000  {
		compatible = "eswin,eic7700-dwc3";
		#address-cells = <2>;
		#size-cells = <2>;
		clocks =<&d0_clock EIC7700_GATE_HSP_USB1_SUSPEND_CLK>;
		clock-names = "suspend";
		eswin,hsp_sp_csr = <&d0_hsp_sp_csr 0x900 0x908 0x93c 0x940>;
		resets = <&d0_reset HSPDMA_RST_CTRL SW_USB1_VAUX_RSTN>;
		reset-names = "vaux";
		ranges;
		status = "disabled";
		d0_usbdrd_dwc3_1: dwc3@50490000 {
			compatible = "snps,dwc3";
			reg = <0x0 0x50490000 0x0 0x10000>;
			#address-cells = <2>;
			#size-cells = <2>;
			interrupt-parent = <&plic0>;
			interrupts = <86>;
			interrupt-names = "host";
			dr_mode = "host";
			phy_type = "utmi";
			maximum-speed = "high-speed";
			iommus = <&smmu0 EIC7700_SID_USB1>;
			eswin,hsp_sp_csr = <&d0_hsp_sp_csr 0x1048>;
			dma-ranges = <0x0 0x0 0x0 0xc0000000 0x200 0x0>;
			snps,dis_enblslpm_quirk;
			snps,dis-u2-freeclk-exists-quirk;
			snps,dis_u2_susphy_quirk;
			snps,dis-del-phy-power-chg-quirk;
			snps,parkmode-disable-ss-quirk;
			status = "disabled";
			numa-node-id = <0>;
			tbus = <EIC7700_TBUID_USB>;
		};
	};
};
